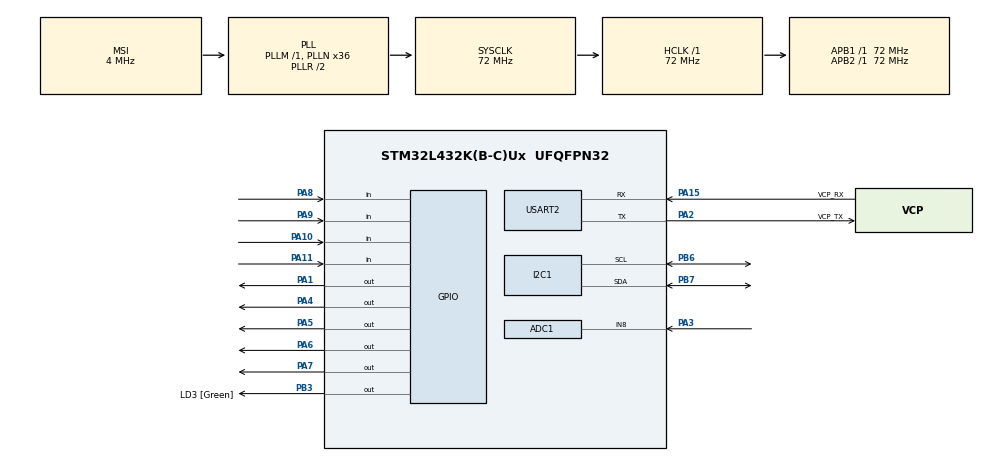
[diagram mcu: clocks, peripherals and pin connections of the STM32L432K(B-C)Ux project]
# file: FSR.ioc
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ADC1.Channel-0\#ChannelRegularConversion=ADC_CHANNEL_8
ADC1.NbrOfConversionFlag=1
ADC1.OffsetNumber-0\#ChannelRegularConversion=ADC_OFFSET_NONE
ADC1.Rank-0\#ChannelRegularConversion=1
ADC1.SamplingTime-0\#ChannelRegularConversion=ADC_SAMPLETIME_2CYCLES_5
ADC1.master=1
I2C1.Timing=0x10808DD3
Mcu.Family=STM32L4
Mcu.Name=STM32L432K(B-C)Ux
Mcu.Package=UFQFPN32
NVIC.PriorityGroup=NVIC_PRIORITYGROUP_4
PA0.GPIO_Label=MCO [High speed clock in]
PA0.Mode=HSE-External-Clock-Source-for-LittleOrca
PA0.Signal=RCC_CK_IN
PA1.Signal=GPIO_Output
PA10.Signal=GPIO_Input
PA11.Signal=GPIO_Input
PA13\ (JTMS-SWDIO).GPIO_Label=SWDIO
PA13\ (JTMS-SWDIO).Mode=Serial_Wire
PA13\ (JTMS-SWDIO).Signal=SYS_JTMS-SWDIO
PA14\ (JTCK-SWCLK).GPIO_Label=SWCLK
PA14\ (JTCK-SWCLK).Mode=Serial_Wire
PA14\ (JTCK-SWCLK).Signal=SYS_JTCK-SWCLK
PA15\ (JTDI).GPIO_Label=VCP_RX
PA15\ (JTDI).Mode=Asynchronous
PA15\ (JTDI).Signal=USART2_RX
PA2.GPIO_Label=VCP_TX
PA2.Mode=Asynchronous
PA2.Signal=USART2_TX
PA3.Signal=ADCx_IN8
PA4.Signal=GPIO_Output
PA5.Signal=GPIO_Output
PA6.Signal=GPIO_Output
PA7.Signal=GPIO_Output
PA8.Signal=GPIO_Input
PA9.Signal=GPIO_Input
PB3\ (JTDO-TRACESWO).GPIO_Label=LD3 [Green]
PB3\ (JTDO-TRACESWO).Signal=GPIO_Output
PB6.Mode=I2C
PB6.Signal=I2C1_SCL
PB7.Mode=I2C
PB7.Signal=I2C1_SDA
PC14-OSC32_IN\ (PC14).Mode=LSE-External-Oscillator
PC14-OSC32_IN\ (PC14).Signal=RCC_OSC32_IN
PC15-OSC32_OUT\ (PC15).Mode=LSE-External-Oscillator
PC15-OSC32_OUT\ (PC15).Signal=RCC_OSC32_OUT
ProjectManager.HeapSize=0x200
ProjectManager.StackSize=0x400
ProjectManager.TargetToolchain=MDK-ARM V5.32
RCC.ADCCLockSelection=RCC_ADCCLKSOURCE_SYSCLK
RCC.ADCFreq_Value=72000000
RCC.AHBFreq_Value=72000000
RCC.APB1Freq_Value=72000000
RCC.APB1TimFreq_Value=72000000
RCC.APB2Freq_Value=72000000
RCC.APB2TimFreq_Value=72000000
RCC.CortexFreq_Value=72000000
RCC.HCLKFreq_Value=72000000
RCC.HSE_VALUE=8000000
RCC.HSI16_VALUE=16000000
RCC.HSI48_VALUE=48000000
RCC.HSI_VALUE=16000000
RCC.MSI_VALUE=4000000
RCC.PLLMUL=RCC_PLLMUL_4
RCC.PLLN=36
RCC.PLLSAI1N=16
RCC.SYSCLKFreq_VALUE=72000000
RCC.SYSCLKSource=RCC_SYSCLKSOURCE_PLLCLK
RCC.USBFreq_Value=32000000
RCC.VCOOutputFreq_Value=144000000
SH.ADCx_IN8.0=ADC1_IN8,IN8-Single-Ended
USART2.VirtualMode-Asynchronous=VM_ASYNC
board=NUCLEO-L432KC

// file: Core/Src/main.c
/* USER CODE BEGIN Header */
/**
  ******************************************************************************
  * @file           : main.c
  * @brief          : Main program body
  ******************************************************************************
  * @attention
  *
  * Copyright (c) 2023 STMicroelectronics.
  * All rights reserved.
  *
  * This software is licensed under terms that can be found in the LICENSE file
  * in the root directory of this software component.
  * If no LICENSE file comes with this software, it is provided AS-IS.
  *
  ******************************************************************************
  */
/* USER CODE END Header */
#include "main.h"

/* USER CODE BEGIN Includes */
#include "stdio.h"
/* USER CODE END Includes */

ADC_HandleTypeDef hadc1;

I2C_HandleTypeDef hi2c1;

UART_HandleTypeDef huart2;

/* USER CODE BEGIN PV */
uint8_t alarm=0;

/* USER CODE END PV */

void SystemClock_Config(void);
static void MX_GPIO_Init(void);
static void MX_USART2_UART_Init(void);
static void MX_ADC1_Init(void);
static void MX_I2C1_Init(void);
/* USER CODE BEGIN PFP */
static void keypad(void);
/* USER CODE END PFP */

/* USER CODE BEGIN 0 */
#define C4_GPIO_PIN GPIO_PIN_6
#define C3_GPIO_PIN GPIO_PIN_5
#define C2_GPIO_PIN GPIO_PIN_4
#define C1_GPIO_PIN GPIO_PIN_1

#define R4_GPIO_PIN GPIO_PIN_11
#define R3_GPIO_PIN GPIO_PIN_10
#define R2_GPIO_PIN GPIO_PIN_9
#define R1_GPIO_PIN GPIO_PIN_8

uint8_t x;

void keypad(void){
			HAL_GPIO_WritePin (GPIOA, C1_GPIO_PIN, GPIO_PIN_RESET);	//Pull the C1 low
		HAL_GPIO_WritePin (GPIOA, C2_GPIO_PIN, GPIO_PIN_SET);  // Pull the C2 High
		HAL_GPIO_WritePin (GPIOA, C3_GPIO_PIN, GPIO_PIN_SET);  // Pull the C3 High
		HAL_GPIO_WritePin (GPIOA, C4_GPIO_PIN, GPIO_PIN_SET);  // Pull the C4 High

		if (!(HAL_GPIO_ReadPin (GPIOA, R1_GPIO_PIN)))   // if the Col 1 is low
		{
			while (!(HAL_GPIO_ReadPin (GPIOA, R1_GPIO_PIN)));   // wait till the button is pressed
			x = '1';
			HAL_UART_Transmit(&huart2,&x , 1, 1000);
			HAL_Delay(250);
		}

		if (!(HAL_GPIO_ReadPin (GPIOA, R2_GPIO_PIN)))   // if the Col 2 is low
		{
			while (!(HAL_GPIO_ReadPin (GPIOA, R2_GPIO_PIN)));   // wait till the button is pressed
			x = '4';
			HAL_UART_Transmit(&huart2,&x , 1, 1000);
			HAL_Delay(250);
		}

		if (!(HAL_GPIO_ReadPin (GPIOA, R3_GPIO_PIN)))   // if the Col 3 is low
		{
			while (!(HAL_GPIO_ReadPin (GPIOA, R3_GPIO_PIN)));   // wait till the button is pressed
			x = '7';
			HAL_UART_Transmit(&huart2,&x , 1, 1000);
			HAL_Delay(250);
		}

		if (!(HAL_GPIO_ReadPin (GPIOA, R4_GPIO_PIN)))   // if the Col 4 is low
		{
			while (!(HAL_GPIO_ReadPin (GPIOA, R4_GPIO_PIN)));   // wait till the button is pressed
			x = '0';
			HAL_UART_Transmit(&huart2,&x , 1, 1000);
			HAL_Delay(250);
		}

		HAL_GPIO_WritePin (GPIOA, C1_GPIO_PIN, GPIO_PIN_SET);	//Pull the C1 high
		HAL_GPIO_WritePin (GPIOA, C2_GPIO_PIN, GPIO_PIN_RESET);  // Pull the C2 low
		HAL_GPIO_WritePin (GPIOA, C3_GPIO_PIN, GPIO_PIN_SET);  // Pull the C3 High
		HAL_GPIO_WritePin (GPIOA, C4_GPIO_PIN, GPIO_PIN_SET);  // Pull the C4 High

		if (!(HAL_GPIO_ReadPin (GPIOA, R1_GPIO_PIN)))   // if the Col 1 is low
		{
			while (!(HAL_GPIO_ReadPin (GPIOA, R1_GPIO_PIN)));   // wait till the button is pressed
			x = '2';
			HAL_UART_Transmit(&huart2,&x , 1, 1000);
			HAL_Delay(250);
		}

		if (!(HAL_GPIO_ReadPin (GPIOA, R2_GPIO_PIN)))   // if the Col 2 is low
		{
			while (!(HAL_GPIO_ReadPin (GPIOA, R2_GPIO_PIN)));   // wait till the button is pressed
			x = '5';
			HAL_UART_Transmit(&huart2,&x , 1, 1000);
			HAL_Delay(250);
		}

		if (!(HAL_GPIO_ReadPin (GPIOA, R3_GPIO_PIN)))   // if the Col 3 is low
		{
			while (!(HAL_GPIO_ReadPin (GPIOA, R3_GPIO_PIN)));   // wait till the button is pressed
			x = '8';
			HAL_UART_Transmit(&huart2,&x , 1, 1000);
			HAL_Delay(250);
		}

		if (!(HAL_GPIO_ReadPin (GPIOA, R4_GPIO_PIN)))   // if the Col 4 is low
		{
			while (!(HAL_GPIO_ReadPin (GPIOA, R4_GPIO_PIN)));   // wait till the button is pressed
			x = 'F';
			HAL_UART_Transmit(&huart2,&x , 1, 1000);
			HAL_Delay(250);
		}

		HAL_GPIO_WritePin (GPIOA, C1_GPIO_PIN, GPIO_PIN_SET);	//Pull the C1 high
		HAL_GPIO_WritePin (GPIOA, C2_GPIO_PIN, GPIO_PIN_SET);  // Pull the C2 high
		HAL_GPIO_WritePin (GPIOA, C3_GPIO_PIN, GPIO_PIN_RESET);  // Pull the C3 low
		HAL_GPIO_WritePin (GPIOA, C4_GPIO_PIN, GPIO_PIN_SET);  // Pull the C4 High

		if (!(HAL_GPIO_ReadPin (GPIOA, R1_GPIO_PIN)))   // if the Col 1 is low
		{
			while (!(HAL_GPIO_ReadPin (GPIOA, R1_GPIO_PIN)));   // wait till the button is pressed
			x = '3';
			HAL_UART_Transmit(&huart2,&x , 1, 1000);
			HAL_Delay(250);
		}

		if (!(HAL_GPIO_ReadPin (GPIOA, R2_GPIO_PIN)))   // if the Col 2 is low
		{
			while (!(HAL_GPIO_ReadPin (GPIOA, R2_GPIO_PIN)));   // wait till the button is pressed
			x = '6';
			HAL_UART_Transmit(&huart2,&x , 1, 1000);
			HAL_Delay(250);
		}

		if (!(HAL_GPIO_ReadPin (GPIOA, R3_GPIO_PIN)))   // if the Col 3 is low
		{
			while (!(HAL_GPIO_ReadPin (GPIOA, R3_GPIO_PIN)));   // wait till the button is pressed
			x = '9';
			HAL_UART_Transmit(&huart2,&x , 1, 1000);
			HAL_Delay(250);
		}

		if (!(HAL_GPIO_ReadPin (GPIOA, R4_GPIO_PIN)))   // if the Col 4 is low
		{
			while (!(HAL_GPIO_ReadPin (GPIOA, R4_GPIO_PIN)));   // wait till the button is pressed
			x = 'E';
			HAL_UART_Transmit(&huart2,&x , 1, 1000);
			HAL_Delay(250);
		}

		HAL_GPIO_WritePin (GPIOA, C1_GPIO_PIN, GPIO_PIN_SET);	//Pull the C1 high
		HAL_GPIO_WritePin (GPIOA, C2_GPIO_PIN, GPIO_PIN_SET);  // Pull the C2 high
		HAL_GPIO_WritePin (GPIOA, C3_GPIO_PIN, GPIO_PIN_SET);  // Pull the C3 High
		HAL_GPIO_WritePin (GPIOA, C4_GPIO_PIN, GPIO_PIN_RESET);  // Pull the C4 low

		if (!(HAL_GPIO_ReadPin (GPIOA, R1_GPIO_PIN)))   // if the Col 1 is low
		{
			while (!(HAL_GPIO_ReadPin (GPIOA, R1_GPIO_PIN)));   // wait till the button is pressed
			x = 'A';
			HAL_UART_Transmit(&huart2,&x , 1, 1000);
			HAL_Delay(250);
		}

		if (!(HAL_GPIO_ReadPin (GPIOA, R2_GPIO_PIN)))   // if the Col 2 is low
		{
			while (!(HAL_GPIO_ReadPin (GPIOA, R2_GPIO_PIN)));   // wait till the button is pressed
			x = 'B';
			HAL_UART_Transmit(&huart2,&x , 1, 1000);
			HAL_Delay(250);
		}

		if (!(HAL_GPIO_ReadPin (GPIOA, R3_GPIO_PIN)))   // if the Col 3 is low
		{
			while (!(HAL_GPIO_ReadPin (GPIOA, R3_GPIO_PIN)));   // wait till the button is pressed
			x = 'C';
			HAL_UART_Transmit(&huart2,&x , 1, 1000);
			HAL_Delay(250);
		}

		if (!(HAL_GPIO_ReadPin (GPIOA, R4_GPIO_PIN)))   // if the Col 4 is low
		{
			while (!(HAL_GPIO_ReadPin (GPIOA, R4_GPIO_PIN)));   // wait till the button is pressed
			x = 'D';
			HAL_UART_Transmit(&huart2,&x , 1, 1000);
			HAL_Delay(250);
		}
}
/* USER CODE END 0 */

int main(void)
{
  /* USER CODE BEGIN 1 */
    uint16_t AD_RES = 0, Vamb, DC_Multiplier, res;
	char msg[] = "\r\n Alarm ";
  /* USER CODE END 1 */

  /* MCU Configuration--------------------------------------------------------*/

  /* Reset of all peripherals, Initializes the Flash interface and the Systick. */
  HAL_Init();

  /* Configure the system clock */
  SystemClock_Config();

  /* Initialize all configured peripherals */
  MX_GPIO_Init();
  MX_USART2_UART_Init();
  MX_ADC1_Init();
  MX_I2C1_Init();

  /* Infinite loop */
  /* USER CODE BEGIN WHILE */
   HAL_ADCEx_Calibration_Start(&hadc1,ADC_SINGLE_ENDED);

	HAL_ADC_Start(&hadc1);
    HAL_ADC_PollForConversion(&hadc1, 1);
    Vamb = HAL_ADC_GetValue(&hadc1);

    DC_Multiplier = 65535/(4096-Vamb);
  while (1)
  {

    if(!alarm)
			HAL_GPIO_WritePin(GPIOA, GPIO_PIN_7, GPIO_PIN_RESET);

    /* USER CODE END WHILE */

    /* USER CODE BEGIN 3 */
			HAL_ADC_Start(&hadc1);
       // Poll ADC1 Perihperal & TimeOut = 1mSec
        HAL_ADC_PollForConversion(&hadc1, 1);
       // Read The ADC Conversion Result & Map It To PWM DutyCycle
        AD_RES = HAL_ADC_GetValue(&hadc1);
				res = (AD_RES-Vamb)*DC_Multiplier;
//				HAL_UART_Transmit(&huart2, (uint8_t *)msg,sizeof(msg),1000);
		char arr[5] = {0, 0, 0, 0, 0};
		if(res<500)
			alarm=1;
		else alarm = 0;
		if(alarm)
			HAL_GPIO_TogglePin(GPIOA, GPIO_PIN_7);
		sprintf(arr, "%d\n", alarm);

//				HAL_UART_Transmit(&huart2, (uint8_t *)&arr,sizeof(5),1000);
//				HAL_UART_Transmit(&huart2, &alarm,1,1000);
		HAL_Delay(100);
		keypad();
  }
  /* USER CODE END 3 */
}

void SystemClock_Config(void)
{
  RCC_OscInitTypeDef RCC_OscInitStruct = {0};
  RCC_ClkInitTypeDef RCC_ClkInitStruct = {0};

  /** Configure the main internal regulator output voltage
  */
  if (HAL_PWREx_ControlVoltageScaling(PWR_REGULATOR_VOLTAGE_SCALE1) != HAL_OK)
  {
    Error_Handler();
  }

  /** Configure LSE Drive Capability
  */
  HAL_PWR_EnableBkUpAccess();
  __HAL_RCC_LSEDRIVE_CONFIG(RCC_LSEDRIVE_LOW);

  /** Initializes the RCC Oscillators according to the specified parameters
  * in the RCC_OscInitTypeDef structure.
  */
  RCC_OscInitStruct.OscillatorType = RCC_OSCILLATORTYPE_LSE|RCC_OSCILLATORTYPE_MSI;
  RCC_OscInitStruct.LSEState = RCC_LSE_ON;
  RCC_OscInitStruct.MSIState = RCC_MSI_ON;
  RCC_OscInitStruct.MSICalibrationValue = 0;
  RCC_OscInitStruct.MSIClockRange = RCC_MSIRANGE_6;
  RCC_OscInitStruct.PLL.PLLState = RCC_PLL_ON;
  RCC_OscInitStruct.PLL.PLLSource = RCC_PLLSOURCE_MSI;
  RCC_OscInitStruct.PLL.PLLM = 1;
  RCC_OscInitStruct.PLL.PLLN = 36;
  RCC_OscInitStruct.PLL.PLLP = RCC_PLLP_DIV7;
  RCC_OscInitStruct.PLL.PLLQ = RCC_PLLQ_DIV2;
  RCC_OscInitStruct.PLL.PLLR = RCC_PLLR_DIV2;
  if (HAL_RCC_OscConfig(&RCC_OscInitStruct) != HAL_OK)
  {
    Error_Handler();
  }

  /** Initializes the CPU, AHB and APB buses clocks
  */
  RCC_ClkInitStruct.ClockType = RCC_CLOCKTYPE_HCLK|RCC_CLOCKTYPE_SYSCLK
                              |RCC_CLOCKTYPE_PCLK1|RCC_CLOCKTYPE_PCLK2;
  RCC_ClkInitStruct.SYSCLKSource = RCC_SYSCLKSOURCE_PLLCLK;
  RCC_ClkInitStruct.AHBCLKDivider = RCC_SYSCLK_DIV1;
  RCC_ClkInitStruct.APB1CLKDivider = RCC_HCLK_DIV1;
  RCC_ClkInitStruct.APB2CLKDivider = RCC_HCLK_DIV1;

  if (HAL_RCC_ClockConfig(&RCC_ClkInitStruct, FLASH_LATENCY_4) != HAL_OK)
  {
    Error_Handler();
  }

  /** Enable MSI Auto calibration
  */
  HAL_RCCEx_EnableMSIPLLMode();
}

static void MX_ADC1_Init(void)
{

  ADC_ChannelConfTypeDef sConfig = {0};

  /** Common config
  */
  hadc1.Instance = ADC1;
  hadc1.Init.ClockPrescaler = ADC_CLOCK_ASYNC_DIV1;
  hadc1.Init.Resolution = ADC_RESOLUTION_12B;
  hadc1.Init.DataAlign = ADC_DATAALIGN_RIGHT;
  hadc1.Init.ScanConvMode = ADC_SCAN_DISABLE;
  hadc1.Init.EOCSelection = ADC_EOC_SINGLE_CONV;
  hadc1.Init.LowPowerAutoWait = DISABLE;
  hadc1.Init.ContinuousConvMode = DISABLE;
  hadc1.Init.NbrOfConversion = 1;
  hadc1.Init.DiscontinuousConvMode = DISABLE;
  hadc1.Init.ExternalTrigConv = ADC_SOFTWARE_START;
  hadc1.Init.ExternalTrigConvEdge = ADC_EXTERNALTRIGCONVEDGE_NONE;
  hadc1.Init.DMAContinuousRequests = DISABLE;
  hadc1.Init.Overrun = ADC_OVR_DATA_PRESERVED;
  hadc1.Init.OversamplingMode = DISABLE;
  if (HAL_ADC_Init(&hadc1) != HAL_OK)
  {
    Error_Handler();
  }

  /** Configure Regular Channel
  */
  sConfig.Channel = ADC_CHANNEL_8;
  sConfig.Rank = ADC_REGULAR_RANK_1;
  sConfig.SamplingTime = ADC_SAMPLETIME_2CYCLES_5;
  sConfig.SingleDiff = ADC_SINGLE_ENDED;
  sConfig.OffsetNumber = ADC_OFFSET_NONE;
  sConfig.Offset = 0;
  if (HAL_ADC_ConfigChannel(&hadc1, &sConfig) != HAL_OK)
  {
    Error_Handler();
  }

}

static void MX_I2C1_Init(void)
{

  hi2c1.Instance = I2C1;
  hi2c1.Init.Timing = 0x10808DD3;
  hi2c1.Init.OwnAddress1 = 0;
  hi2c1.Init.AddressingMode = I2C_ADDRESSINGMODE_7BIT;
  hi2c1.Init.DualAddressMode = I2C_DUALADDRESS_DISABLE;
  hi2c1.Init.OwnAddress2 = 0;
  hi2c1.Init.OwnAddress2Masks = I2C_OA2_NOMASK;
  hi2c1.Init.GeneralCallMode = I2C_GENERALCALL_DISABLE;
  hi2c1.Init.NoStretchMode = I2C_NOSTRETCH_DISABLE;
  if (HAL_I2C_Init(&hi2c1) != HAL_OK)
  {
    Error_Handler();
  }

  /** Configure Analogue filter
  */
  if (HAL_I2CEx_ConfigAnalogFilter(&hi2c1, I2C_ANALOGFILTER_ENABLE) != HAL_OK)
  {
    Error_Handler();
  }

  /** Configure Digital filter
  */
  if (HAL_I2CEx_ConfigDigitalFilter(&hi2c1, 0) != HAL_OK)
  {
    Error_Handler();
  }

}

static void MX_USART2_UART_Init(void)
{

  huart2.Instance = USART2;
  huart2.Init.BaudRate = 115200;
  huart2.Init.WordLength = UART_WORDLENGTH_8B;
  huart2.Init.StopBits = UART_STOPBITS_1;
  huart2.Init.Parity = UART_PARITY_NONE;
  huart2.Init.Mode = UART_MODE_TX_RX;
  huart2.Init.HwFlowCtl = UART_HWCONTROL_NONE;
  huart2.Init.OverSampling = UART_OVERSAMPLING_16;
  huart2.Init.OneBitSampling = UART_ONE_BIT_SAMPLE_DISABLE;
  huart2.AdvancedInit.AdvFeatureInit = UART_ADVFEATURE_NO_INIT;
  if (HAL_UART_Init(&huart2) != HAL_OK)
  {
    Error_Handler();
  }

}

static void MX_GPIO_Init(void)
{
  GPIO_InitTypeDef GPIO_InitStruct = {0};

  /* GPIO Ports Clock Enable */
  __HAL_RCC_GPIOC_CLK_ENABLE();
  __HAL_RCC_GPIOA_CLK_ENABLE();
  __HAL_RCC_GPIOB_CLK_ENABLE();

  /*Configure GPIO pin Output Level */
  HAL_GPIO_WritePin(GPIOA, GPIO_PIN_1|GPIO_PIN_4|GPIO_PIN_5|GPIO_PIN_6
                          |GPIO_PIN_7, GPIO_PIN_RESET);

  /*Configure GPIO pin Output Level */
  HAL_GPIO_WritePin(LD3_GPIO_Port, LD3_Pin, GPIO_PIN_RESET);

  /*Configure GPIO pins : PA1 PA4 PA5 PA6
                           PA7 */
  GPIO_InitStruct.Pin = GPIO_PIN_1|GPIO_PIN_4|GPIO_PIN_5|GPIO_PIN_6
                          |GPIO_PIN_7;
  GPIO_InitStruct.Mode = GPIO_MODE_OUTPUT_PP;
  GPIO_InitStruct.Pull = GPIO_NOPULL;
  GPIO_InitStruct.Speed = GPIO_SPEED_FREQ_LOW;
  HAL_GPIO_Init(GPIOA, &GPIO_InitStruct);

  /*Configure GPIO pins : PA8 PA9 PA10 PA11 */
  GPIO_InitStruct.Pin = GPIO_PIN_8|GPIO_PIN_9|GPIO_PIN_10|GPIO_PIN_11;
  GPIO_InitStruct.Mode = GPIO_MODE_INPUT;
  GPIO_InitStruct.Pull = GPIO_NOPULL;
  HAL_GPIO_Init(GPIOA, &GPIO_InitStruct);

  /*Configure GPIO pin : LD3_Pin */
  GPIO_InitStruct.Pin = LD3_Pin;
  GPIO_InitStruct.Mode = GPIO_MODE_OUTPUT_PP;
  GPIO_InitStruct.Pull = GPIO_NOPULL;
  GPIO_InitStruct.Speed = GPIO_SPEED_FREQ_LOW;
  HAL_GPIO_Init(LD3_GPIO_Port, &GPIO_InitStruct);

}

void Error_Handler(void)
{
  __disable_irq();
  while (1)
  {
  }
}
